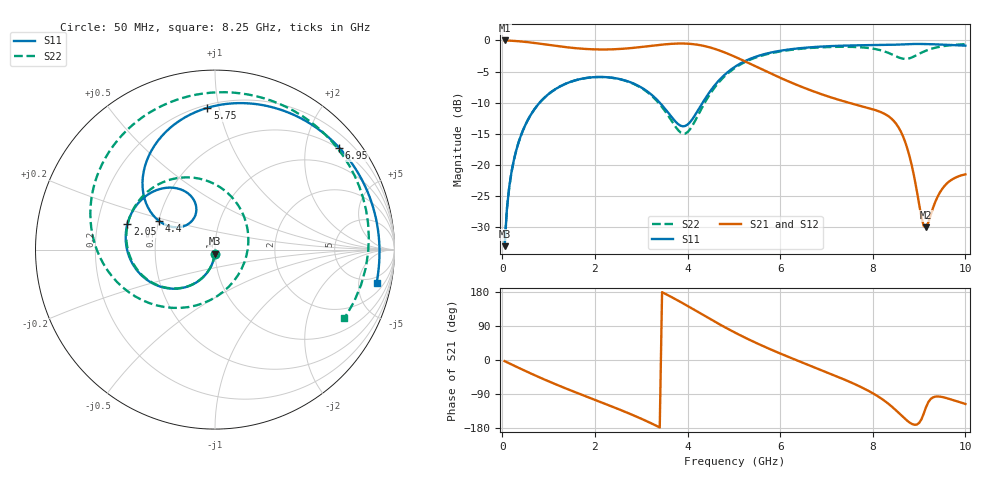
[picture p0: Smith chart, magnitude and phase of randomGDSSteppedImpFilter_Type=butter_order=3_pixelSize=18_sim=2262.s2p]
! freq	dB(S11)	phase(S11)	dB(S12)	phase(S12)
!  dB(S21)	phase(S21)	dB(S22)	phase(S22)
!S-par simulation data
#  GHz  S  DB  R 50
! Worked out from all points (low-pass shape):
!   200 points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, 50 MHz to 10 GHz, reference 50 ohm
!   highest |S21| = 0.00 dB at 50 MHz (marker M1); lowest = -30.0 dB at 9.15 GHz (marker M2)
!   |S21| within 3 dB of the highest: start of sweep to 5.137 GHz
!   lowest |S11| = -33.1 dB at 50 MHz (marker M3), VSWR 1.05, Z = 49.8 - j2.21 ohm
!   |S11| at or under -10 dB: start of sweep to 807.3 MHz; 3.401 GHz to 4.326 GHz (925.6 MHz wide, 24 % of centre)
!   |S22| runs from -33.1 to -0.6 dB; largest |S21 - S12| = 0
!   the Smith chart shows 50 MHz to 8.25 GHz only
!   S11 on the Smith chart (normalised r, x): 50 MHz: 1.00, -0.04; 2.05 GHz: 0.33, +0.13; 4.4 GHz: 0.50, +0.18; 5.75 GHz: 0.22, +0.92; 6.95 GHz: 0.48, +2.72; 8.25 GHz: 3.40, -8.28
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0.05  -33.06 -93.1  -0.00 -3.0  -0.00 -3.0  -33.06 -93.1
0.2  -21.11 -102.2  -0.05 -11.8  -0.05 -11.8  -21.11 -102.2
0.5  -13.55 -119.6  -0.24 -29.0  -0.24 -29.0  -13.55 -119.7
1.75  -6.11 177.3  -1.35 -93.3  -1.35 -93.3  -6.11 175.0
2.05  -5.87 163.9  -1.45 -107.6  -1.45 -107.6  -5.88 160.1
2.8  -6.82 132.3  -1.22 -144.3  -1.22 -144.3  -6.87 119.0
3.4  -9.99 113.6  -0.71 -177.9  -0.71 -177.9  -10.25 72.3
3.95  -13.74 135.6  -0.51 146.2  -0.51 146.2  -14.97 -24.2
4.4  -9.13 152.9  -0.96 114.5  -0.96 114.5  -9.65 -108.9
5.05  -4.11 127.7  -2.71 70.8  -2.71 70.8  -4.28 -169.3
5.75  -2.04 93.1  -5.15 30.3  -5.15 30.3  -2.15 145.8
6.7  -1.08 50.0  -8.13 -17.5  -8.13 -17.5  -1.19 94.2
6.95  -0.96 39.3  -8.79 -29.7  -8.79 -29.7  -1.09 80.5
7.65  -0.79 10.9  -10.35 -65.9  -10.35 -65.9  -1.06 36.0
8.25  -0.73 -11.8  -11.78 -107.4  -11.78 -107.4  -1.76 -28.0
8.35  -0.72 -15.5  -12.24 -116.7  -12.24 -116.7  -2.04 -45.3
8.6  -0.65 -24.6  -14.56 -144.2  -14.56 -144.2  -2.84 -103.9
8.8  -0.59 -32.1  -18.79 -165.5  -18.79 -165.5  -2.85 -162.5
8.95  -0.57 -38.0  -24.13 -170.4  -24.13 -170.4  -2.35 157.7
9.15  -0.58 -45.7  -30.03 -124.5  -30.03 -124.5  -1.64 117.7
9.45  -0.66 -57.0  -24.42 -96.7  -24.42 -96.7  -1.01 78.6
10  -0.84 -77.6  -21.51 -116.0  -21.51 -116.0  -0.59 36.3
